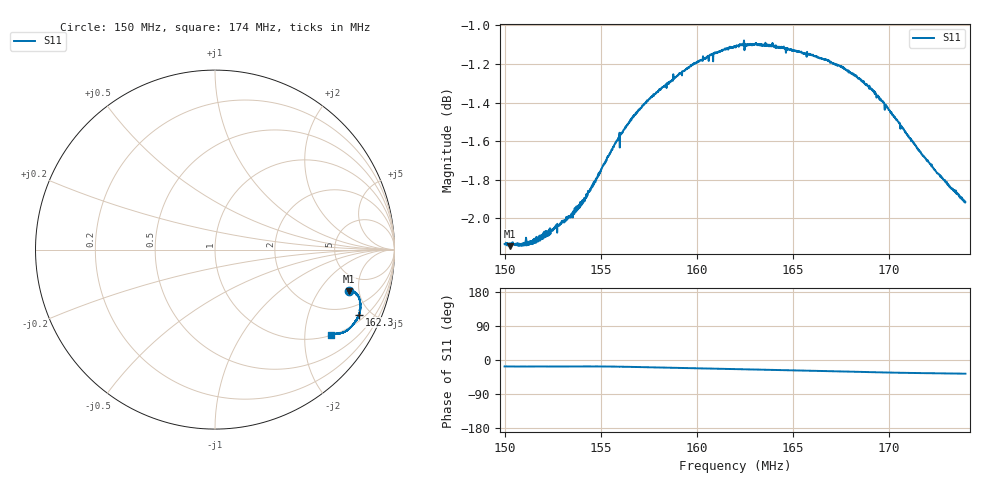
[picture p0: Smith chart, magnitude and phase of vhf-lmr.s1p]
! Calibrated averaged scanner-service zoom
# Hz S RI R 50
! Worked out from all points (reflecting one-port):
!   2001 points, 150 MHz to 174 MHz, reference 50 ohm
!   lowest |S11| = -2.1 dB at 150.3 MHz (marker M1), VSWR 8.14, Z = 167 - j196 ohm
!   phase of S11 starts at -17 deg and turns -19 deg over the sweep
!   S11 on the Smith chart (normalised r, x): 150 MHz: 3.36, -3.95; 162.3 MHz: 1.32, -4.27; 174 MHz: 1.02, -2.72
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1.5e8  0.7481 -0.2282
1.50264e8  0.7465 -0.2298
1.51008e8  0.7464 -0.2323
1.51524e8  0.7486 -0.231
1.53e8  0.7571 -0.2334
1.5366e8  0.7621 -0.233
1.5408e8  0.7672 -0.2341
1.54464e8  0.7728 -0.2345
1.55148e8  0.7834 -0.2418
1.55628e8  0.7905 -0.2471
1.56e8  0.7888 -0.2537
1.56648e8  0.801 -0.2641
1.57284e8  0.805 -0.2749
1.59e8  0.8097 -0.3035
1.5978e8  0.8107 -0.3174
1.6068e8  0.8096 -0.3332
1.62e8  0.8048 -0.3564
1.62288e8  0.8031 -0.3616
1.6386e8  0.7907 -0.3867
1.65e8  0.7798 -0.4034
1.66752e8  0.7619 -0.4267
1.68e8  0.745 -0.4431
1.69176e8  0.7256 -0.4565
1.69656e8  0.7168 -0.4607
1.7046e8  0.7016 -0.4653
1.71e8  0.6916 -0.4669
1.7238e8  0.6693 -0.4697
1.74e8  0.6474 -0.4733
